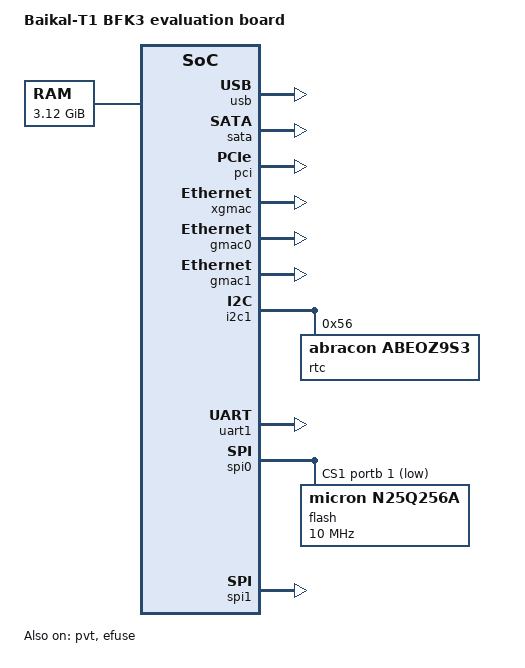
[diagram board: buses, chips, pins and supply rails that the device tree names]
/*
 * Baikal-T1 BFK3 evaluation board device tree
 *
 * Copyright (C) 2014-2018  Baikal Electronics JSC
 *
 * This program is free software; you can redistribute it and/or
 * modify it under the terms of the GNU General Public License
 * as published by the Free Software Foundation; either version 2
 * of the License, or (at your option) any later version.
 */

/dts-v1/;

#include <dt-bindings/interrupt-controller/mips-gic.h>
#include <dt-bindings/gpio/gpio.h>

#include  "baikal_t1_soc.dtsi"
#include  "baikal_mdio.dtsi"

/ {
	model = "Baikal-T1 BFK3 evaluation board";
	compatible = "baikal,mips", "baikal,baikal-t1-soc", "baikal,baikal-bfk3-eval-board";
	#address-cells = <1>;
	#size-cells = <1>;

	chosen {
		bootargs = "root=/dev/ram rw rootwait console=ttyS0,115200n8 earlyprintk=uart8250,mmio32,0x1F04A000,115200 maxcpus=2 nohtw";
		linux,initrd-start = <0x01000000>;
		linux,initrd-end   = <0x02000000>;
	};

	memory {
		device_type = "memory";
		reg = <0x00000000 0x08000000>,
		      <0x20000000 0xC0000000>;
	};
};

&usb {
	status = "okay";
};

&sata {
	status = "okay";
};

&pci {
	status = "okay";
};

&xgmac {
	status = "okay";
};

&gmac0 {
	status = "okay";
};

&gmac1 {
	status = "okay";
};

&gpio {
	status = "okay";
};

&gpio3 {
	status = "okay";
};

&i2c0 {
};

&i2c1 {
	rtc@56 {
		compatible = "abracon,abeoz9s3";
		reg = <0x56>;
	};
};

&uart1 {
	status = "okay";
};

&spi0 {
	reg-io-width = <4>;
	num-cs = <2>;
	cs-gpios = <&portb 0 GPIO_ACTIVE_LOW>,
			   <&portb 1 GPIO_ACTIVE_LOW>;

	status = "okay";

	flash@1 {
		#address-cells = <1>;
		#size-cells = <1>;
		status = "okay";
		compatible = "micron,n25q256a", "jedec,spi-nor";
		reg = <1>;
		spi-max-frequency = <10000000>;
		/* m25p,fast-read; */

		mtd@00000000 {
			label = "flash0";
			reg = <0x00000000 0x02000000>;
		};
	};
};

&spi1 {
	num-cs = <1>;
	cs-gpios = <&portb 2 GPIO_ACTIVE_LOW>;

	status = "okay";
};

&pvt {
	status = "okay";
};

&efuse {
	status = "okay";
};
